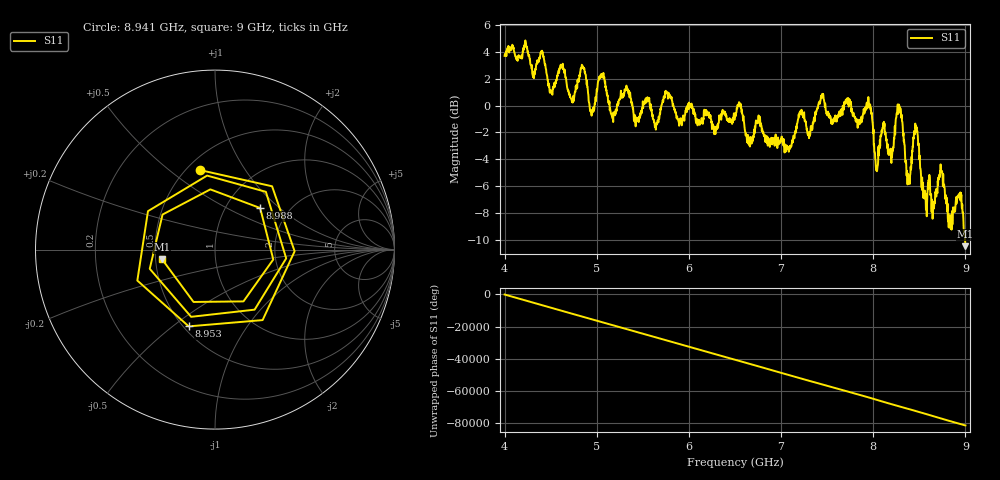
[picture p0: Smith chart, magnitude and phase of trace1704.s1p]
! Created with skrf 1.8.0 (http://scikit-rf.org).
# Hz S RI R 50.0
!freq ReS11 ImS11
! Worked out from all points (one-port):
!   1601 points, 4 GHz to 9 GHz, reference 50 ohm
!   lowest |S11| = -10.5 dB at 9 GHz (marker M1), VSWR 1.86, Z = 27.1 - j3.17 ohm
!   |S11| at or under -10 dB: 8.99679 GHz to end of sweep
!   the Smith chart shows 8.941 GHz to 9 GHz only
!   S11 on the Smith chart (normalised r, x): 8.941 GHz: 0.58, +0.65; 8.953 GHz: 0.53, -0.57; 8.988 GHz: 1.44, +0.75; 9 GHz: 0.54, -0.06
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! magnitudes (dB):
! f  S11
! 4 GHz  3.7
! 4.406 GHz  4.1
! 4.506 GHz  0.9
! 4.625 GHz  2.8
! 4.731 GHz  0.3
! 4.856 GHz  2.7
! 4.947 GHz  -0.4
! 5.05 GHz  2.3
! 5.172 GHz  -1.0
! 5.25 GHz  0.4
! 5.875 GHz  -1.0
! 6.5 GHz  -0.9
! 7.125 GHz  -2.5
! 7.438 GHz  0.6
! 7.75 GHz  0.3
! 7.953 GHz  0.2
! 8.038 GHz  -4.9
! 8.109 GHz  -1.3
! 8.197 GHz  -4.3
! 8.284 GHz  0.0
! 8.375 GHz  -5.2
! 8.459 GHz  -1.7
! 8.559 GHz  -6.3
! 8.834 GHz  -9.0
! 8.941 GHz  -6.9
! 8.953 GHz  -6.9
! 8.988 GHz  -9.3
! 9 GHz  -10.5
